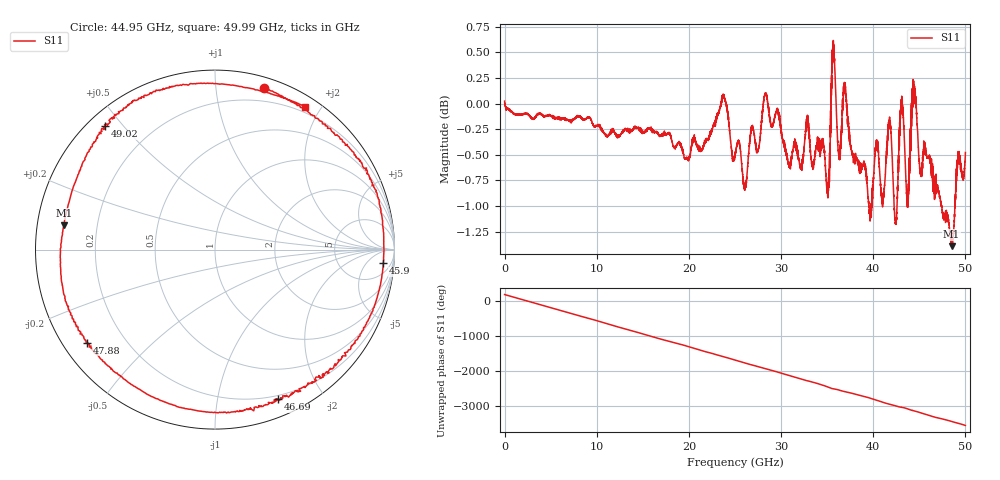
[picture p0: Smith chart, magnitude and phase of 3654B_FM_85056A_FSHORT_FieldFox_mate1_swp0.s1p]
!Created with skrf (http://scikit-rf.org).
# Hz S RI R 50.0
!freq ReS11 ImS11
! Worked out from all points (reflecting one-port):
!   10000 points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, 5.3 MHz to 50 GHz, reference 50 ohm
!   lowest |S11| = -1.4 dB at 48.51 GHz (marker M1), VSWR 12.51, Z = 4.02 + j3.95 ohm
!   phase of S11 starts at 180 deg and turns -3723 deg over the sweep
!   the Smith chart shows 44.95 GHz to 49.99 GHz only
!   S11 on the Smith chart (normalised r, x): 44.95 GHz: 0.08, +1.35; 45.9 GHz: 12, -16; 46.69 GHz: 0.16, -1.50; 47.88 GHz: 0.07, -0.32; 49.02 GHz: 0.05, +0.45; 49.99 GHz: 0.13, +1.81
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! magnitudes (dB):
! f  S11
! 5.3 MHz  0.0
! 6.255 GHz  -0.1
! 12.51 GHz  -0.3
! 18.76 GHz  -0.4
! 23.76 GHz  0.1
! 25.01 GHz  -0.5
! 26.1 GHz  -0.8
! 28.32 GHz  0.1
! 31.26 GHz  -0.5
! 35.05 GHz  -0.9
! 35.7 GHz  0.6
! 36.28 GHz  -0.5
! 36.89 GHz  0.2
! 37.51 GHz  -0.4
! 39.69 GHz  -1.1
! 41.78 GHz  -0.1
! 42.42 GHz  -1.2
! 43.1 GHz  0.1
! 43.76 GHz  -0.9
! 44.38 GHz  0.2
! 44.95 GHz  -0.5
! 45.9 GHz  -0.5
! 46.69 GHz  -0.9
! 47.88 GHz  -1.1
! 48.51 GHz  -1.4
! 49.02 GHz  -0.7
! 49.99 GHz  -0.5
! 50 GHz  -0.5
